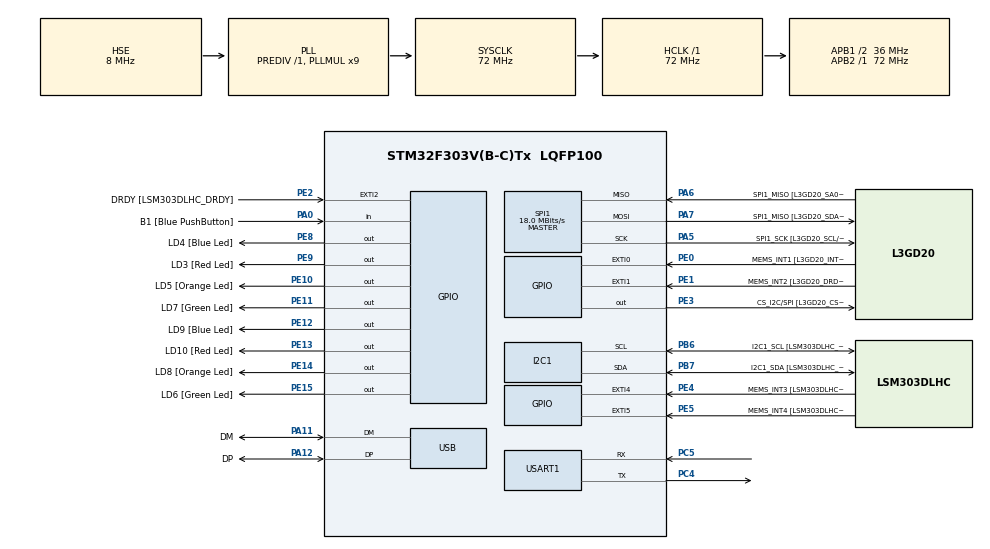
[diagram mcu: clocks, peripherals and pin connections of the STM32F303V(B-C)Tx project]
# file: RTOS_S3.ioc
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FREERTOS.Tasks01=defaultTask,0,128,StartDefaultTask,Default,NULL,Dynamic,NULL,NULL
FREERTOS.configUSE_COUNTING_SEMAPHORES=1
FREERTOS.configUSE_NEWLIB_REENTRANT=1
I2C1.Timing-I2C=0x2000090E
Mcu.Family=STM32F3
Mcu.Name=STM32F303V(B-C)Tx
Mcu.Package=LQFP100
NVIC.PriorityGroup=NVIC_PRIORITYGROUP_4
NVIC.TIM1_UP_TIM16_IRQn=true\:15\:0\:false\:false\:true\:false\:false\:true\:true
NVIC.TimeBase=TIM1_UP_TIM16_IRQn
NVIC.TimeBaseIP=TIM1
NVIC.USART1_IRQn=true\:5\:0\:false\:false\:true\:true\:true\:true\:true
PA0.GPIO_Label=B1 [Blue PushButton]
PA0.Signal=GPIO_Input
PA11.GPIO_Label=DM
PA11.Mode=Device
PA11.Signal=USB_DM
PA12.GPIO_Label=DP
PA12.Mode=Device
PA12.Signal=USB_DP
PA13.GPIO_Label=SWDIO
PA13.Mode=Serial_Wire
PA13.Signal=SYS_JTMS-SWDIO
PA14.GPIO_Label=SWCLK
PA14.Mode=Serial_Wire
PA14.Signal=SYS_JTCK-SWCLK
PA5.GPIO_Label=SPI1_SCK [L3GD20_SCL/SPC]
PA5.Mode=Full_Duplex_Master
PA5.Signal=SPI1_SCK
PA6.GPIO_Label=SPI1_MISO [L3GD20_SA0/SDO]
PA6.Mode=Full_Duplex_Master
PA6.Signal=SPI1_MISO
PA7.GPIO_Label=SPI1_MISO [L3GD20_SDA/SDI/SDO]
PA7.Mode=Full_Duplex_Master
PA7.Signal=SPI1_MOSI
PB3.GPIO_Label=SWO
PB3.Signal=SYS_JTDO-TRACESWO
PB6.GPIO_Label=I2C1_SCL [LSM303DLHC_SCL]
PB6.GPIO_Pu=GPIO_PULLUP
PB6.Mode=I2C
PB6.Signal=I2C1_SCL
PB7.GPIO_Label=I2C1_SDA [LSM303DLHC_SDA]
PB7.GPIO_Pu=GPIO_PULLUP
PB7.Mode=I2C
PB7.Signal=I2C1_SDA
PC14-OSC32_IN.GPIO_Label=OSC32_IN
PC14-OSC32_IN.Signal=RCC_OSC32_IN
PC15-OSC32_OUT.GPIO_Label=OSC32_OUT
PC15-OSC32_OUT.Signal=RCC_OSC32_OUT
PC4.Mode=Asynchronous
PC4.Signal=USART1_TX
PC5.Mode=Asynchronous
PC5.Signal=USART1_RX
PE0.GPIO_Label=MEMS_INT1 [L3GD20_INT1]
PE0.GPIO_ModeDefaultEXTI=GPIO_MODE_EVT_RISING
PE0.Signal=GPXTI0
PE1.GPIO_Label=MEMS_INT2 [L3GD20_DRDY/INT2]
PE1.GPIO_ModeDefaultEXTI=GPIO_MODE_EVT_RISING
PE1.Signal=GPXTI1
PE10.GPIO_Label=LD5 [Orange Led]
PE10.Signal=GPIO_Output
PE11.GPIO_Label=LD7 [Green Led]
PE11.Signal=GPIO_Output
PE12.GPIO_Label=LD9 [Blue Led]
PE12.Signal=GPIO_Output
PE13.GPIO_Label=LD10 [Red Led]
PE13.Signal=GPIO_Output
PE14.GPIO_Label=LD8 [Orange Led]
PE14.Signal=GPIO_Output
PE15.GPIO_Label=LD6 [Green Led]
PE15.Signal=GPIO_Output
PE2.GPIO_Label=DRDY [LSM303DLHC_DRDY]
PE2.GPIO_ModeDefaultEXTI=GPIO_MODE_EVT_RISING
PE2.Signal=GPXTI2
PE3.GPIO_Label=CS_I2C/SPI [L3GD20_CS_I2C/SPI]
PE3.Signal=GPIO_Output
PE4.GPIO_Label=MEMS_INT3 [LSM303DLHC_INT1]
PE4.GPIO_ModeDefaultEXTI=GPIO_MODE_EVT_RISING
PE4.Signal=GPXTI4
PE5.GPIO_Label=MEMS_INT4 [LSM303DLHC_INT2]
PE5.GPIO_ModeDefaultEXTI=GPIO_MODE_EVT_RISING
PE5.Signal=GPXTI5
PE8.GPIO_Label=LD4 [Blue Led]
PE8.Signal=GPIO_Output
PE9.GPIO_Label=LD3 [Red Led]
PE9.Signal=GPIO_Output
PF0-OSC_IN.GPIO_Label=OSC_IN
PF0-OSC_IN.Mode=HSE-External-Clock-Source
PF0-OSC_IN.Signal=RCC_OSC_IN
PF1-OSC_OUT.GPIO_Label=OSC_OUT
PF1-OSC_OUT.Signal=RCC_OSC_OUT
ProjectManager.HeapSize=0x200
ProjectManager.StackSize=0x400
ProjectManager.TargetToolchain=STM32CubeIDE
RCC.AHBFreq_Value=72000000
RCC.APB1CLKDivider=RCC_HCLK_DIV2
RCC.APB1Freq_Value=36000000
RCC.APB1TimFreq_Value=72000000
RCC.APB2Freq_Value=72000000
RCC.APB2TimFreq_Value=72000000
RCC.CortexFreq_Value=72000000
RCC.HCLKFreq_Value=72000000
RCC.HSE_VALUE=8000000
RCC.HSI_VALUE=8000000
RCC.LSE_VALUE=32768
RCC.PLLMUL=RCC_PLL_MUL9
RCC.PRESCALERUSB=RCC_USBCLKSOURCE_PLL_DIV1_5
RCC.SYSCLKFreq_VALUE=72000000
RCC.SYSCLKSourceVirtual=RCC_SYSCLKSOURCE_PLLCLK
RCC.USBFreq_Value=48000000
SPI1.BaudRatePrescaler=SPI_BAUDRATEPRESCALER_4
SPI1.BaudRatePrescaler-Full_Duplex_Master=SPI_BAUDRATEPRESCALER_2
SPI1.CalculateBaudRate=18.0 MBits/s
SPI1.CalculateBaudRate-Full_Duplex_Master=24.0 MBits/s
SPI1.Direction=SPI_DIRECTION_2LINES
SPI1.Mode=SPI_MODE_MASTER
SPI1.Mode-Full_Duplex_Master=SPI_MODE_MASTER
SPI1.VirtualType=VM_MASTER
USART1.VirtualMode-Asynchronous=VM_ASYNC
VP_FREERTOS_VS_CMSIS_V1.Mode=CMSIS_V1
VP_SYS_VS_tim1.Mode=TIM1
board=STM32F3DISCOVERY

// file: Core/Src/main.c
/* USER CODE BEGIN Header */
/**
  ******************************************************************************
  * @file           : main.c
  * @brief          : Main program body
  ******************************************************************************
  * @attention
  *
  * Copyright (c) 2024 STMicroelectronics.
  * All rights reserved.
  *
  * This software is licensed under terms that can be found in the LICENSE file
  * in the root directory of this software component.
  * If no LICENSE file comes with this software, it is provided AS-IS.
  *
  ******************************************************************************
  */
/* USER CODE END Header */
#include "main.h"
//#include "cmsis_os.h"

/* USER CODE BEGIN Includes */

// cmsis.h is commented for using freertos without it and directly
#include "FreeRTOS.h"
#include "task.h"
#include "timers.h"
#include "queue.h"
#include "semphr.h"
#include "event_groups.h"
#include "stdlib.h"
#include "string.h"

/* USER CODE END Includes */

I2C_HandleTypeDef hi2c1;

SPI_HandleTypeDef hspi1;

UART_HandleTypeDef huart1;

PCD_HandleTypeDef hpcd_USB_FS;

void SystemClock_Config(void);
static void MX_GPIO_Init(void);
static void MX_I2C1_Init(void);
static void MX_SPI1_Init(void);
static void MX_USB_PCD_Init(void);
static void MX_USART1_UART_Init(void);

/* USER CODE BEGIN 0 */

// Create task defines
TaskHandle_t HPTHandler;
void HPT_Task_Start(void *pvParameters);

TaskHandle_t MPTHandler;
void MPT_Task_Start(void *pvParameters);

TaskHandle_t LPTHandler;
void LPT_Task_Start(void *pvParameters);

TaskHandle_t VLPTHandler;
void VLPT_Task_Start(void *pvParameters);

// semaphore
SemaphoreHandle_t CountingSem;

// resources
int resource[3] = {111, 222, 333};
int indx = 0;

// uart
uint8_t rxdata = 0;

/* USER CODE END 0 */

int main(void)
{

  /* MCU Configuration--------------------------------------------------------*/

  /* Reset of all peripherals, Initializes the Flash interface and the Systick. */
  HAL_Init();

  /* Configure the system clock */
  SystemClock_Config();

  /* Initialize all configured peripherals */
  MX_GPIO_Init();
  MX_I2C1_Init();
  MX_SPI1_Init();
  MX_USB_PCD_Init();
  MX_USART1_UART_Init();
  /* USER CODE BEGIN 2 */

  HAL_UART_Receive_IT(&huart1, &rxdata, 1);

  // Create Semaphore
  CountingSem = xSemaphoreCreateCounting(3, 0);

  if(CountingSem == NULL) {
	  uint8_t create_data[50];
	  sprintf(create_data, "Unable to create semaphore!\r\r\n");
	  HAL_UART_Transmit(&huart1, create_data, strlen(create_data), 500);
  }
  else {
	  uint8_t create_data[50];
	  sprintf(create_data, "Counting semaphore created!\r\r\n");
	  HAL_UART_Transmit(&huart1, create_data, strlen(create_data), 500);
  }

  // Create Task
  xTaskCreate(HPT_Task_Start, "HPT", 128, NULL, 3, &HPTHandler);
  xTaskCreate(MPT_Task_Start, "MPT", 128, NULL, 2, &MPTHandler);
  xTaskCreate(LPT_Task_Start, "LPT", 128, NULL, 1, &LPTHandler);
  xTaskCreate(VLPT_Task_Start, "VLPT", 128, NULL, 0, &VLPTHandler);

  vTaskStartScheduler();

  /* USER CODE END 2 */

  /* Infinite loop */
  while (1)
  {

  }
}

void SystemClock_Config(void)
{
  RCC_OscInitTypeDef RCC_OscInitStruct = {0};
  RCC_ClkInitTypeDef RCC_ClkInitStruct = {0};
  RCC_PeriphCLKInitTypeDef PeriphClkInit = {0};

  /** Initializes the RCC Oscillators according to the specified parameters
  * in the RCC_OscInitTypeDef structure.
  */
  RCC_OscInitStruct.OscillatorType = RCC_OSCILLATORTYPE_HSI|RCC_OSCILLATORTYPE_HSE;
  RCC_OscInitStruct.HSEState = RCC_HSE_BYPASS;
  RCC_OscInitStruct.HSEPredivValue = RCC_HSE_PREDIV_DIV1;
  RCC_OscInitStruct.HSIState = RCC_HSI_ON;
  RCC_OscInitStruct.HSICalibrationValue = RCC_HSICALIBRATION_DEFAULT;
  RCC_OscInitStruct.PLL.PLLState = RCC_PLL_ON;
  RCC_OscInitStruct.PLL.PLLSource = RCC_PLLSOURCE_HSE;
  RCC_OscInitStruct.PLL.PLLMUL = RCC_PLL_MUL9;
  if (HAL_RCC_OscConfig(&RCC_OscInitStruct) != HAL_OK)
  {
    Error_Handler();
  }

  /** Initializes the CPU, AHB and APB buses clocks
  */
  RCC_ClkInitStruct.ClockType = RCC_CLOCKTYPE_HCLK|RCC_CLOCKTYPE_SYSCLK
                              |RCC_CLOCKTYPE_PCLK1|RCC_CLOCKTYPE_PCLK2;
  RCC_ClkInitStruct.SYSCLKSource = RCC_SYSCLKSOURCE_PLLCLK;
  RCC_ClkInitStruct.AHBCLKDivider = RCC_SYSCLK_DIV1;
  RCC_ClkInitStruct.APB1CLKDivider = RCC_HCLK_DIV2;
  RCC_ClkInitStruct.APB2CLKDivider = RCC_HCLK_DIV1;

  if (HAL_RCC_ClockConfig(&RCC_ClkInitStruct, FLASH_LATENCY_2) != HAL_OK)
  {
    Error_Handler();
  }
  PeriphClkInit.PeriphClockSelection = RCC_PERIPHCLK_USB|RCC_PERIPHCLK_USART1
                              |RCC_PERIPHCLK_I2C1;
  PeriphClkInit.Usart1ClockSelection = RCC_USART1CLKSOURCE_PCLK2;
  PeriphClkInit.I2c1ClockSelection = RCC_I2C1CLKSOURCE_HSI;
  PeriphClkInit.USBClockSelection = RCC_USBCLKSOURCE_PLL_DIV1_5;
  if (HAL_RCCEx_PeriphCLKConfig(&PeriphClkInit) != HAL_OK)
  {
    Error_Handler();
  }
}

static void MX_I2C1_Init(void)
{

  hi2c1.Instance = I2C1;
  hi2c1.Init.Timing = 0x2000090E;
  hi2c1.Init.OwnAddress1 = 0;
  hi2c1.Init.AddressingMode = I2C_ADDRESSINGMODE_7BIT;
  hi2c1.Init.DualAddressMode = I2C_DUALADDRESS_DISABLE;
  hi2c1.Init.OwnAddress2 = 0;
  hi2c1.Init.OwnAddress2Masks = I2C_OA2_NOMASK;
  hi2c1.Init.GeneralCallMode = I2C_GENERALCALL_DISABLE;
  hi2c1.Init.NoStretchMode = I2C_NOSTRETCH_DISABLE;
  if (HAL_I2C_Init(&hi2c1) != HAL_OK)
  {
    Error_Handler();
  }

  /** Configure Analogue filter
  */
  if (HAL_I2CEx_ConfigAnalogFilter(&hi2c1, I2C_ANALOGFILTER_ENABLE) != HAL_OK)
  {
    Error_Handler();
  }

  /** Configure Digital filter
  */
  if (HAL_I2CEx_ConfigDigitalFilter(&hi2c1, 0) != HAL_OK)
  {
    Error_Handler();
  }

}

static void MX_SPI1_Init(void)
{

  /* SPI1 parameter configuration*/
  hspi1.Instance = SPI1;
  hspi1.Init.Mode = SPI_MODE_MASTER;
  hspi1.Init.Direction = SPI_DIRECTION_2LINES;
  hspi1.Init.DataSize = SPI_DATASIZE_4BIT;
  hspi1.Init.CLKPolarity = SPI_POLARITY_LOW;
  hspi1.Init.CLKPhase = SPI_PHASE_1EDGE;
  hspi1.Init.NSS = SPI_NSS_SOFT;
  hspi1.Init.BaudRatePrescaler = SPI_BAUDRATEPRESCALER_4;
  hspi1.Init.FirstBit = SPI_FIRSTBIT_MSB;
  hspi1.Init.TIMode = SPI_TIMODE_DISABLE;
  hspi1.Init.CRCCalculation = SPI_CRCCALCULATION_DISABLE;
  hspi1.Init.CRCPolynomial = 7;
  hspi1.Init.CRCLength = SPI_CRC_LENGTH_DATASIZE;
  hspi1.Init.NSSPMode = SPI_NSS_PULSE_ENABLE;
  if (HAL_SPI_Init(&hspi1) != HAL_OK)
  {
    Error_Handler();
  }

}

static void MX_USART1_UART_Init(void)
{

  huart1.Instance = USART1;
  huart1.Init.BaudRate = 38400;
  huart1.Init.WordLength = UART_WORDLENGTH_8B;
  huart1.Init.StopBits = UART_STOPBITS_1;
  huart1.Init.Parity = UART_PARITY_NONE;
  huart1.Init.Mode = UART_MODE_TX_RX;
  huart1.Init.HwFlowCtl = UART_HWCONTROL_NONE;
  huart1.Init.OverSampling = UART_OVERSAMPLING_16;
  huart1.Init.OneBitSampling = UART_ONE_BIT_SAMPLE_DISABLE;
  huart1.AdvancedInit.AdvFeatureInit = UART_ADVFEATURE_NO_INIT;
  if (HAL_UART_Init(&huart1) != HAL_OK)
  {
    Error_Handler();
  }

}

static void MX_USB_PCD_Init(void)
{

  hpcd_USB_FS.Instance = USB;
  hpcd_USB_FS.Init.dev_endpoints = 8;
  hpcd_USB_FS.Init.speed = PCD_SPEED_FULL;
  hpcd_USB_FS.Init.phy_itface = PCD_PHY_EMBEDDED;
  hpcd_USB_FS.Init.low_power_enable = DISABLE;
  hpcd_USB_FS.Init.battery_charging_enable = DISABLE;
  if (HAL_PCD_Init(&hpcd_USB_FS) != HAL_OK)
  {
    Error_Handler();
  }

}

static void MX_GPIO_Init(void)
{
  GPIO_InitTypeDef GPIO_InitStruct = {0};

  /* GPIO Ports Clock Enable */
  __HAL_RCC_GPIOE_CLK_ENABLE();
  __HAL_RCC_GPIOC_CLK_ENABLE();
  __HAL_RCC_GPIOF_CLK_ENABLE();
  __HAL_RCC_GPIOA_CLK_ENABLE();
  __HAL_RCC_GPIOB_CLK_ENABLE();

  /*Configure GPIO pin Output Level */
  HAL_GPIO_WritePin(GPIOE, CS_I2C_SPI_Pin|LD4_Pin|LD3_Pin|LD5_Pin
                          |LD7_Pin|LD9_Pin|LD10_Pin|LD8_Pin
                          |LD6_Pin, GPIO_PIN_RESET);

  /*Configure GPIO pins : DRDY_Pin MEMS_INT3_Pin MEMS_INT4_Pin MEMS_INT1_Pin
                           MEMS_INT2_Pin */
  GPIO_InitStruct.Pin = DRDY_Pin|MEMS_INT3_Pin|MEMS_INT4_Pin|MEMS_INT1_Pin
                          |MEMS_INT2_Pin;
  GPIO_InitStruct.Mode = GPIO_MODE_EVT_RISING;
  GPIO_InitStruct.Pull = GPIO_NOPULL;
  HAL_GPIO_Init(GPIOE, &GPIO_InitStruct);

  /*Configure GPIO pins : CS_I2C_SPI_Pin LD4_Pin LD3_Pin LD5_Pin
                           LD7_Pin LD9_Pin LD10_Pin LD8_Pin
                           LD6_Pin */
  GPIO_InitStruct.Pin = CS_I2C_SPI_Pin|LD4_Pin|LD3_Pin|LD5_Pin
                          |LD7_Pin|LD9_Pin|LD10_Pin|LD8_Pin
                          |LD6_Pin;
  GPIO_InitStruct.Mode = GPIO_MODE_OUTPUT_PP;
  GPIO_InitStruct.Pull = GPIO_NOPULL;
  GPIO_InitStruct.Speed = GPIO_SPEED_FREQ_LOW;
  HAL_GPIO_Init(GPIOE, &GPIO_InitStruct);

  /*Configure GPIO pin : B1_Pin */
  GPIO_InitStruct.Pin = B1_Pin;
  GPIO_InitStruct.Mode = GPIO_MODE_INPUT;
  GPIO_InitStruct.Pull = GPIO_NOPULL;
  HAL_GPIO_Init(B1_GPIO_Port, &GPIO_InitStruct);

}

/* USER CODE BEGIN 4 */
void ReleaseSemaphores2BeAcquired() {
	// Release 3 semaphores so 3 task can acquire them
	xSemaphoreGive(CountingSem);
	xSemaphoreGive(CountingSem);
	xSemaphoreGive(CountingSem);
}

void HPT_UART_Send() {
	char sresource[3];
	uint8_t data[150];
	int semcount = 0;
	char ssemcount[2];
	strcpy(data, "Entered HPT Task\r\n About to ACQUIRE the Semaphore\r\n\r\n");
	semcount = uxSemaphoreGetCount(CountingSem);
	itoa(semcount, ssemcount, 10); // convert integer to char array
//	strcat(data, "Leaving HPT Task\r\n Data ACCESSED is:: ");
	strcat(data, "Available Tokens are: ");
	strcat(data, ssemcount);
//	strcat(data, "\r\n Not releasing the Semaphore\r\n\r\n\r\n");
	strcat(data, "\r\n\r\n");
	HAL_UART_Transmit(&huart1, data, strlen(data), HAL_MAX_DELAY);

	xSemaphoreTake(CountingSem, portMAX_DELAY);

	itoa(resource[indx], sresource, 10); // convert integer to char array
	strcpy(data, "Leaving HPT Task\r\n Data ACCESSED is:: ");
	strcat(data, sresource);
	strcat(data, "\r\n Not releasing the Semaphore\r\n\r\n\r\n");
	HAL_UART_Transmit(&huart1, data, strlen(data), HAL_MAX_DELAY);

	indx++;
	if(indx > 2)
		indx = 0;

}

void MPT_UART_Send() {
	char sresource[3];
	uint8_t data[150];
	int semcount = 0;
	char ssemcount[2];
	strcpy(data, "Entered MPT Task\r\n About to ACQUIRE the Semaphore\r\n\r\n");
	semcount = uxSemaphoreGetCount(CountingSem);
	itoa(semcount, ssemcount, 10); // convert integer to char array
	//	strcat(data, "Leaving MPT Task\r\n Data ACCESSED is:: ");
	strcat(data, "Available Tokens are: ");
	strcat(data, ssemcount);
	//	strcat(data, "\r\n Not releasing the Semaphore\r\n\r\n\r\n");
	strcat(data, "\r\n\r\n");
	HAL_UART_Transmit(&huart1, data, strlen(data), HAL_MAX_DELAY);

	xSemaphoreTake(CountingSem, portMAX_DELAY);

	itoa(resource[indx], sresource, 10); // convert integer to char array
	strcpy(data, "Leaving MPT Task\r\n Data ACCESSED is:: ");
	strcat(data, sresource);
	strcat(data, "\r\n Not releasing the Semaphore\r\n\r\n\r\n");
	HAL_UART_Transmit(&huart1, data, strlen(data), HAL_MAX_DELAY);

	indx++;
	if(indx > 2)
		indx = 0;

}

void LPT_UART_Send() {
	char sresource[3];
	uint8_t data[150];
	int semcount = 0;
	char ssemcount[2];
	strcpy(data, "Entered LPT Task\r\n About to ACQUIRE the Semaphore\r\n\r\n");
	semcount = uxSemaphoreGetCount(CountingSem);
	itoa(semcount, ssemcount, 10); // convert integer to char array
	//	strcat(data, "Leaving LPT Task\r\n Data ACCESSED is:: ");
	strcat(data, "Available Tokens are: ");
	strcat(data, ssemcount);
	//	strcat(data, "\r\n Not releasing the Semaphore\r\n\r\n\r\n");
	strcat(data, "\r\n\r\n");
	HAL_UART_Transmit(&huart1, data, strlen(data), HAL_MAX_DELAY);

	xSemaphoreTake(CountingSem, portMAX_DELAY);

	itoa(resource[indx], sresource, 10); // convert integer to char array
	strcpy(data, "Leaving LPT Task\r\n Data ACCESSED is:: ");
	strcat(data, sresource);
	strcat(data, "\r\n Not releasing the Semaphore\r\n\r\n\r\n");
	HAL_UART_Transmit(&huart1, data, strlen(data), HAL_MAX_DELAY);

	indx++;
	if(indx > 2)
		indx = 0;

}

void VLPT_UART_Send() {
	char sresource[3];
	uint8_t data[150];
	int semcount = 0;
	char ssemcount[2];
	strcpy(data, "Entered VLPT Task\r\n About to ACQUIRE the Semaphore\r\n\r\n");
	semcount = uxSemaphoreGetCount(CountingSem);
	itoa(semcount, ssemcount, 10); // convert integer to char array
	//	strcat(data, "Leaving VLPT Task\r\n Data ACCESSED is:: ");
	strcat(data, "Available Tokens are: ");
	strcat(data, ssemcount);
	//	strcat(data, "\r\n Not releasing the Semaphore\r\n\r\n\r\n");
	strcat(data, "\r\n\r\n");
	HAL_UART_Transmit(&huart1, data, strlen(data), HAL_MAX_DELAY);

	xSemaphoreTake(CountingSem, portMAX_DELAY);

	itoa(resource[indx], sresource, 10); // convert integer to char array
	strcpy(data, "Leaving VLPT Task\r\n Data ACCESSED is:: ");
	strcat(data, sresource);
	strcat(data, "\r\n Not releasing the Semaphore\r\n\r\n\r\n");
	HAL_UART_Transmit(&huart1, data, strlen(data), HAL_MAX_DELAY);

	indx++;
	if(indx > 2)
		indx = 0;

}

void HPT_Task_Start(void *pvParameters) {
	ReleaseSemaphores2BeAcquired();
	while(1) {
		HPT_UART_Send();
		vTaskDelay(3000);
//		vTaskDelete(NULL);
	}
}

void MPT_Task_Start(void *pvParameters) {
	while(1) {
		MPT_UART_Send();
		vTaskDelay(2000);
//		vTaskDelete(NULL);
	}
}

void LPT_Task_Start(void *pvParameters) {
	while(1) {
		LPT_UART_Send();
		vTaskDelay(1000);
//		vTaskDelete(NULL);
	}
}

void VLPT_Task_Start(void *pvParameters) {
	while(1) {
		VLPT_UART_Send();
		vTaskDelay(500);
	}
}

// UART Callback
void HAL_UART_RxCpltCallback(UART_HandleTypeDef *huart) {
	HAL_UART_Receive_IT(&huart1, &rxdata, 1);

	if(rxdata == 'r') {

		//Release semaphore if received 'r'
		// Releasing Semaphore from ISR is not straightforward by using a single function

		/* The xHigherPriorityTaskWoken parameter must be initialized to pdFALSE
		 * as it will get set to pdTRUE inside the interrupt safe API function if a context switch is required. */
		BaseType_t xHigherPriorityTaskWoken = pdFALSE; // ISR SAFE VERSION

		xSemaphoreGiveFromISR(CountingSem, &xHigherPriorityTaskWoken);
		xSemaphoreGiveFromISR(CountingSem, &xHigherPriorityTaskWoken);
		xSemaphoreGiveFromISR(CountingSem, &xHigherPriorityTaskWoken);

		/* Pass the xHigherPriorityTaskWoken value into portEND_SWITCHING_ISR().
		 * If xHigherPriorityTaskWoken was set to pdTRUE inside xSemaphoreGiveFromISR()
		then calling portEND_SWITCHING ISR() will request a context switch.
		If xHigherPriorityTaskWoken is still pdFALSE then calling portEND_SWITCHING_ISR() will have no effect */
		portEND_SWITCHING_ISR(xHigherPriorityTaskWoken);

	}
}
/* USER CODE END 4 */

void HAL_TIM_PeriodElapsedCallback(TIM_HandleTypeDef *htim)
{
  if (htim->Instance == TIM1) {
    HAL_IncTick();
  }
}

void Error_Handler(void)
{
  __disable_irq();
  while (1)
  {
  }
}
